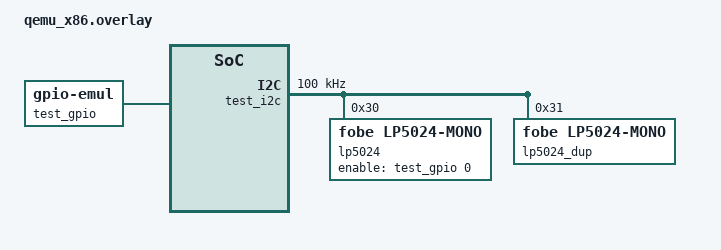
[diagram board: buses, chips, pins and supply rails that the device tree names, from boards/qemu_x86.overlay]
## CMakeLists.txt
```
# Copyright (c) 2026 FoBE Studio
# SPDX-License-Identifier: Apache-2.0

cmake_minimum_required(VERSION 3.20.0)

find_package(Zephyr REQUIRED HINTS $ENV{ZEPHYR_BASE})
project(lp5024_mono_test)

target_sources(app PRIVATE src/main.c)
```

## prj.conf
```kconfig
CONFIG_ZTEST=y
CONFIG_ASSERT=y

CONFIG_LOG=y
CONFIG_LOG_MODE_MINIMAL=y

CONFIG_EMUL=y
CONFIG_I2C=y
CONFIG_I2C_EMUL=y
CONFIG_GPIO=y
CONFIG_GPIO_EMUL=y
CONFIG_LED=y
CONFIG_LED_FOBE_LP5024_MONO=y
CONFIG_PM_DEVICE=y
```

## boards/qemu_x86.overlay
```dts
/*
 * Copyright (c) 2026 FoBE Studio
 *
 * SPDX-License-Identifier: Apache-2.0
 */

#include <zephyr/dt-bindings/gpio/gpio.h>
#include <zephyr/dt-bindings/i2c/i2c.h>

/ {
	test_gpio: gpio {
		compatible = "zephyr,gpio-emul";
		ngpios = <1>;
		status = "okay";
		#gpio-cells = <2>;
		gpio-controller;
	};

	test_i2c: i2c@100 {
		compatible = "zephyr,i2c-emul-controller";
		clock-frequency = <I2C_BITRATE_STANDARD>;
		#address-cells = <1>;
		#size-cells = <0>;
		reg = <0x100 4>;
		status = "okay";

		lp5024: led-controller@30 {
			compatible = "fobe,lp5024-mono";
			reg = <0x30>;
			enable-gpios = <&test_gpio 0 GPIO_ACTIVE_HIGH>;
			status = "okay";

			led0 {
				label = "led0";
				index = <2>;
			};

			led1 {
				label = "led1";
				index = <5>;
			};
		};

		lp5024_dup: led-controller@31 {
			compatible = "fobe,lp5024-mono";
			reg = <0x31>;
			status = "okay";

			led0 {
				label = "dup0";
				index = <1>;
			};

			led1 {
				label = "dup1";
				index = <1>;
			};
		};
	};
};
```

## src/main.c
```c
/*
 * Copyright (c) 2026 FoBE Studio
 *
 * SPDX-License-Identifier: Apache-2.0
 */

#include <zephyr/device.h>
#include <zephyr/drivers/emul.h>
#include <zephyr/drivers/gpio/gpio_emul.h>
#include <zephyr/drivers/i2c.h>
#include <zephyr/drivers/i2c_emul.h>
#include <zephyr/drivers/led.h>
#include <zephyr/pm/device.h>
#include <zephyr/ztest.h>

#include <string.h>

#define LP_NODE DT_NODELABEL(lp5024)
#define LP_DUP_NODE DT_NODELABEL(lp5024_dup)
#define GPIO_NODE DT_NODELABEL(test_gpio)

#define LP5024_OUTPUT_COLOR_BASE 0x0fU

struct lp5024_emul_data {
	uint8_t regs[0x28];
	uint16_t write_count;
};

static struct lp5024_emul_data lp_emul_data;
static struct lp5024_emul_data lp_dup_emul_data;

static const struct device *const lp_dev = DEVICE_DT_GET(LP_NODE);
static const struct device *const lp_dup_dev = DEVICE_DT_GET(LP_DUP_NODE);
static const struct device *const gpio_dev = DEVICE_DT_GET(GPIO_NODE);

static int lp5024_emul_transfer(const struct emul *target, struct i2c_msg *msgs, int num_msgs,
				int addr)
{
	struct lp5024_emul_data *data = target->data;
	uint8_t reg;

	ARG_UNUSED(addr);

	if (num_msgs != 1 || (msgs[0].flags & I2C_MSG_READ) != 0 || msgs[0].len != 2U) {
		return -EIO;
	}

	reg = msgs[0].buf[0];
	if (reg >= ARRAY_SIZE(data->regs)) {
		return -EIO;
	}

	data->regs[reg] = msgs[0].buf[1];
	data->write_count++;
	return 0;
}

static int lp5024_emul_init(const struct emul *target, const struct device *parent)
{
	struct lp5024_emul_data *data = target->data;

	ARG_UNUSED(parent);

	memset(data, 0, sizeof(*data));
	return 0;
}

static const struct i2c_emul_api lp5024_emul_api = {
	.transfer = lp5024_emul_transfer,
};

EMUL_DT_DEFINE(LP_NODE, lp5024_emul_init, &lp_emul_data, NULL, &lp5024_emul_api, NULL);
EMUL_DT_DEFINE(LP_DUP_NODE, lp5024_emul_init, &lp_dup_emul_data, NULL, &lp5024_emul_api, NULL);

static void *lp5024_setup(void)
{
	zassert_true(device_is_ready(lp_dev));
	zassert_false(device_is_ready(lp_dup_dev), "duplicate output device should fail init");
	zassert_true(device_is_ready(gpio_dev));

	return NULL;
}

ZTEST(lp5024_mono, test_init_sequence_and_brightness_mapping)
{
	zassert_true(lp_emul_data.write_count > 0);
	zassert_ok(led_set_brightness(lp_dev, 0, 50));
	zassert_equal(lp_emul_data.regs[LP5024_OUTPUT_COLOR_BASE + 2], 127);
	zassert_ok(led_set_brightness(lp_dev, 1, 100));
	zassert_equal(lp_emul_data.regs[LP5024_OUTPUT_COLOR_BASE + 5], 255);
	zassert_equal(led_set_brightness(lp_dev, 2, 1), -EINVAL);
}

ZTEST(lp5024_mono, test_pm_resume_restores_cached_brightness)
{
	uint16_t writes;

	zassert_ok(led_set_brightness(lp_dev, 0, 25));
	zassert_ok(pm_device_action_run(lp_dev, PM_DEVICE_ACTION_SUSPEND));
	writes = lp_emul_data.write_count;
	zassert_ok(led_set_brightness(lp_dev, 0, 75));
	zassert_equal(lp_emul_data.write_count, writes);
	zassert_ok(pm_device_action_run(lp_dev, PM_DEVICE_ACTION_RESUME));
	zassert_equal(lp_emul_data.regs[LP5024_OUTPUT_COLOR_BASE + 2], 191);
}

ZTEST(lp5024_mono, test_enable_gpio_tracks_power_state)
{
	zassert_ok(pm_device_action_run(lp_dev, PM_DEVICE_ACTION_SUSPEND));
	zassert_equal(gpio_emul_output_get(gpio_dev, 0), 0);
	zassert_ok(pm_device_action_run(lp_dev, PM_DEVICE_ACTION_RESUME));
	zassert_equal(gpio_emul_output_get(gpio_dev, 0), 1);
}

ZTEST_SUITE(lp5024_mono, NULL, lp5024_setup, NULL, NULL, NULL);
```
